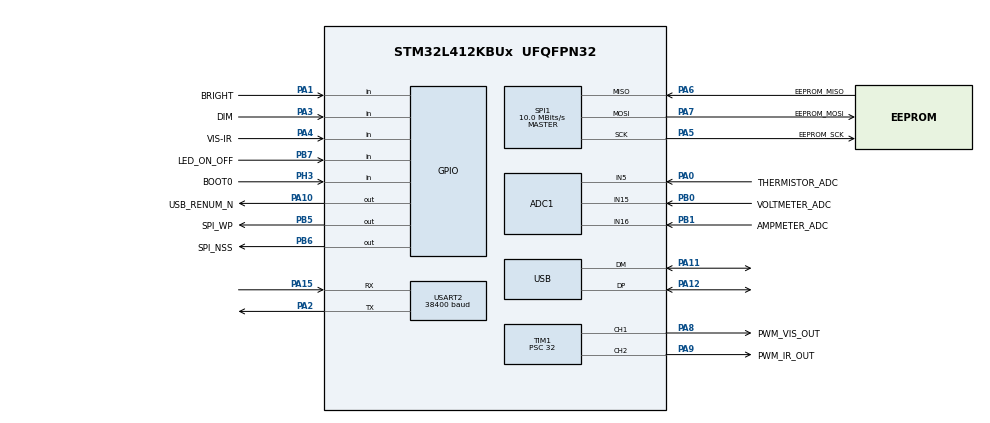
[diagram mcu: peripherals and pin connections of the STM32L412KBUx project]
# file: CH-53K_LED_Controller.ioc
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ADC1.Channel-3\#ChannelRegularConversion=ADC_CHANNEL_5
ADC1.Channel-4\#ChannelRegularConversion=ADC_CHANNEL_15
ADC1.Channel-5\#ChannelRegularConversion=ADC_CHANNEL_16
ADC1.ClockPrescaler=ADC_CLOCK_ASYNC_DIV256
ADC1.ContinuousConvMode=ENABLE
ADC1.DMAContinuousRequests=ENABLE
ADC1.NbrOfConversion=3
ADC1.NbrOfConversionFlag=1
ADC1.OffsetNumber-3\#ChannelRegularConversion=ADC_OFFSET_NONE
ADC1.OffsetNumber-4\#ChannelRegularConversion=ADC_OFFSET_NONE
ADC1.OffsetNumber-5\#ChannelRegularConversion=ADC_OFFSET_NONE
ADC1.Rank-3\#ChannelRegularConversion=1
ADC1.Rank-4\#ChannelRegularConversion=2
ADC1.Rank-5\#ChannelRegularConversion=3
ADC1.SamplingTime-3\#ChannelRegularConversion=ADC_SAMPLETIME_2CYCLES_5
ADC1.SamplingTime-4\#ChannelRegularConversion=ADC_SAMPLETIME_2CYCLES_5
ADC1.SamplingTime-5\#ChannelRegularConversion=ADC_SAMPLETIME_2CYCLES_5
ADC1.master=1
Dma.ADC1.0.Direction=DMA_PERIPH_TO_MEMORY
Dma.ADC1.0.Instance=DMA1_Channel1
Dma.ADC1.0.MemDataAlignment=DMA_MDATAALIGN_HALFWORD
Dma.ADC1.0.MemInc=DMA_MINC_ENABLE
Dma.ADC1.0.Mode=DMA_CIRCULAR
Dma.ADC1.0.PeriphDataAlignment=DMA_PDATAALIGN_HALFWORD
Dma.ADC1.0.PeriphInc=DMA_PINC_DISABLE
Dma.ADC1.0.Priority=DMA_PRIORITY_LOW
Dma.Request0=ADC1
Mcu.Family=STM32L4
Mcu.Name=STM32L412KBUx
Mcu.Package=UFQFPN32
NVIC.DMA1_Channel1_IRQn=true\:0\:0\:false\:false\:true\:false\:true\:true
NVIC.PriorityGroup=NVIC_PRIORITYGROUP_4
NVIC.USB_IRQn=true\:0\:0\:false\:false\:true\:false\:true\:true
PA0-CK_IN.GPIO_Label=THERMISTOR_ADC
PA0-CK_IN.Signal=ADCx_IN5
PA1.GPIO_Label=BRIGHT
PA1.Signal=GPIO_Input
PA10.GPIO_Label=USB_RENUM_N
PA10.Signal=GPIO_Output
PA11.Mode=Device
PA11.Signal=USB_DM
PA12.Mode=Device
PA12.Signal=USB_DP
PA13\ (JTMS/SWDIO).GPIO_Label=SWDIO
PA13\ (JTMS/SWDIO).Mode=Serial_Wire
PA13\ (JTMS/SWDIO).Signal=SYS_JTMS-SWDIO
PA14\ (JTCK/SWCLK).GPIO_Label=SWCLK
PA14\ (JTCK/SWCLK).Mode=Serial_Wire
PA14\ (JTCK/SWCLK).Signal=SYS_JTCK-SWCLK
PA15\ (JTDI).Mode=Asynchronous
PA15\ (JTDI).Signal=USART2_RX
PA2.Mode=Asynchronous
PA2.Signal=USART2_TX
PA3.GPIO_Label=DIM
PA3.Signal=GPIO_Input
PA4.GPIO_Label=VIS-IR
PA4.Signal=GPIO_Input
PA5.GPIO_Label=EEPROM_SCK
PA5.Mode=Full_Duplex_Master
PA5.Signal=SPI1_SCK
PA6.GPIO_Label=EEPROM_MISO
PA6.Mode=Full_Duplex_Master
PA6.Signal=SPI1_MISO
PA7.GPIO_Label=EEPROM_MOSI
PA7.Mode=Full_Duplex_Master
PA7.Signal=SPI1_MOSI
PA8.GPIO_Label=PWM_VIS_OUT
PA8.GPIO_PuPd=GPIO_PULLDOWN
PA8.Signal=S_TIM1_CH1
PA9.GPIO_Label=PWM_IR_OUT
PA9.GPIO_PuPd=GPIO_PULLDOWN
PA9.Signal=S_TIM1_CH2
PB0.GPIO_Label=VOLTMETER_ADC
PB0.Signal=ADCx_IN15
PB1.GPIO_Label=AMPMETER_ADC
PB1.Signal=ADCx_IN16
PB5.GPIO_Label=SPI_WP
PB5.Signal=GPIO_Output
PB6.GPIO_Label=SPI_NSS
PB6.Signal=GPIO_Output
PB7.GPIO_Label=LED_ON_OFF
PB7.Signal=GPIO_Input
PH3-BOOT0\ (BOOT0).GPIO_Label=BOOT0
PH3-BOOT0\ (BOOT0).GPIO_Mode=GPIO_MODE_INPUT
PH3-BOOT0\ (BOOT0).GPIO_PuPd=GPIO_NOPULL
PH3-BOOT0\ (BOOT0).Signal=GPIO_Input
ProjectManager.HeapSize=0x200
ProjectManager.StackSize=0x400
ProjectManager.TargetToolchain=EWARM V8.32
RCC.ADCFreq_Value=80000000
RCC.AHBFreq_Value=80000000
RCC.APB1Freq_Value=80000000
RCC.APB1TimFreq_Value=80000000
RCC.APB2Freq_Value=80000000
RCC.APB2TimFreq_Value=80000000
RCC.CortexFreq_Value=80000000
RCC.HCLKFreq_Value=80000000
RCC.HSE_VALUE=8000000
RCC.HSI48_VALUE=48000000
RCC.HSI_VALUE=16000000
RCC.LSE_VALUE=32768
RCC.MSIClockRange=RCC_MSIRANGE_11
RCC.MSI_VALUE=48000000
RCC.PLLN=10
RCC.PLLSourceVirtual=RCC_PLLSOURCE_HSI
RCC.SYSCLKFreq_VALUE=80000000
RCC.SYSCLKSource=RCC_SYSCLKSOURCE_PLLCLK
RCC.USBFreq_Value=48000000
RCC.VCOOutputFreq_Value=160000000
SH.ADCx_IN15.0=ADC1_IN15,IN15-Single-Ended
SH.ADCx_IN16.0=ADC1_IN16,IN16-Single-Ended
SH.ADCx_IN5.0=ADC1_IN5,IN5-Single-Ended
SH.S_TIM1_CH1.0=TIM1_CH1,PWM Generation1 CH1
SH.S_TIM1_CH2.0=TIM1_CH2,PWM Generation2 CH2
SPI1.BaudRatePrescaler=SPI_BAUDRATEPRESCALER_8
SPI1.CalculateBaudRate=10.0 MBits/s
SPI1.DataSize=SPI_DATASIZE_8BIT
SPI1.Direction=SPI_DIRECTION_2LINES
SPI1.Mode=SPI_MODE_MASTER
SPI1.NSSPMode=SPI_NSS_PULSE_ENABLE
SPI1.VirtualType=VM_MASTER
TIM1.AutoReloadPreload=TIM_AUTORELOAD_PRELOAD_ENABLE
TIM1.Channel-PWM\ Generation1\ CH1=TIM_CHANNEL_1
TIM1.Channel-PWM\ Generation2\ CH2=TIM_CHANNEL_2
TIM1.Period=255
TIM1.Prescaler=32
TIM15.Prescaler=8000
TIM16.Prescaler=40000
TIM2.Prescaler=40000
USART2.BaudRate=38400
USART2.VirtualMode-Asynchronous=VM_ASYNC
USB_DEVICE.CLASS_NAME_FS=CDC
USB_DEVICE.VirtualMode=Cdc
USB_DEVICE.VirtualModeFS=Cdc_FS
VP_TIM15_VS_ClockSourceINT.Mode=Internal
VP_TIM16_VS_ClockSourceINT.Mode=Enable_Timer
VP_TIM1_VS_ClockSourceINT.Mode=Internal
VP_TIM2_VS_ClockSourceINT.Mode=Internal
VP_USB_DEVICE_VS_USB_DEVICE_CDC_FS.Mode=CDC_FS
board=NUCLEO-L412KB

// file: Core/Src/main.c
/* USER CODE BEGIN Header */
/**
  ******************************************************************************
  * @file           : main.c
  * @brief          : Main program body
  ******************************************************************************
  * @attention
  *
  * Copyright (c) 2024 STMicroelectronics.
  * All rights reserved.
  *
  * This software is licensed under terms that can be found in the LICENSE file
  * in the root directory of this software component.
  * If no LICENSE file comes with this software, it is provided AS-IS.
  *
  ******************************************************************************
  */
/* USER CODE END Header */
#include "main.h"
// #include "adc.h"
// #include "dma.h"
// #include "spi.h"
// #include "tim.h"
#include "usart.h"
#include "usb_device.h"
// #include "gpio.h"

/* USER CODE BEGIN Includes */
#include "pwm_handler.h"
#include "delay_handler.h"
#include "button_handler.h"
#include "current_handler.h"
#include "voltage_handler.h"
#include "temperature_handler.h"
#include "com.h"
#include "string.h"
#include "logger.h"

/* USER CODE END Includes */

/* USER CODE BEGIN PD */

/* Delay timings for sweeping brightness */
#define LOWER_SWEEP_TIME_MS  (3375)                                             // time from 50%->0%
#define UPPER_SWEEP_TIME_MS  (4000)                                             // time from 50%->100%
#define TOTAL_SWEEP_TIME_MS (7375)                                              // time from 0%->100%
#define LOWER_STEP_TIME_MS   (LOWER_SWEEP_TIME_MS / (BRIGHTNESS_STEPS / 2.0f))  // 135, time lower per step
#define UPPER_STEP_TIME_MS   (UPPER_SWEEP_TIME_MS / (BRIGHTNESS_STEPS / 2.0f))  // 160, time upper per step
#define AVG_STEP_TIME_MS     ((UPPER_STEP_TIME_MS + LOWER_STEP_TIME_MS) / 2.0f) // 147.5
#define AVG_STEP_DIFF_MS     (AVG_STEP_TIME_MS    - LOWER_STEP_TIME_MS)         // 12.5, distance between lower step time and average step time

#define LOG_DELAY_MS        (600000) // 10 minutes
#define LIVE_LOG_DELAY_MS   (1000)   // 1 second

const float LowStepTimeMs = ( LOWER_STEP_TIME_MS - AVG_STEP_DIFF_MS )
                            ; // 122.5
const float HighStepTimeMs = ( UPPER_STEP_TIME_MS + AVG_STEP_DIFF_MS )
                             ; // 172.5
/* USER CODE END PD */

/* USER CODE BEGIN PV */

extern uint16_t value_adc [ 3 ];

/* USER CODE END PV */

void SystemClock_Config ( void );
/* USER CODE BEGIN PFP */

void LogVitals ( void );
void FindVitalsEOL ( void );
void EraseLogs ( void );
int verifyLogRead ( void );

void LL_ADC_Start_DMA ( uint32_t* pData,
                        uint32_t Length );
void LL_DMA_Start_IT ( uint32_t SrcAddress,
                       uint32_t DstAddress, uint32_t DataLength );

void LL_DMA_SetConfig ( uint32_t SrcAddress,
                        uint32_t DstAddress, uint32_t DataLength );

/* USER CODE END PFP */

int main ( void )
{

    /* MCU Configuration--------------------------------------------------------*/

    /* Reset of all peripherals, Initializes the Flash interface and the Systick. */
    HAL_Init();

    /* Configure the system clock */
    SystemClock_Config();

    /* Initialize all configured peripherals */
    MX_GPIO_Init();
    MX_DMA_Init();
    MX_TIM1_Init();
    MX_TIM2_Init();
    MX_TIM15_Init();
    MX_TIM16_Init();
    MX_USART2_UART_Init();
    MX_ADC1_Init();
    MX_SPI1_Init();
    MX_USB_DEVICE_Init();
    /* USER CODE BEGIN 2 */

    LL_ADC_Start_DMA ( ( uint32_t* ) value_adc, 3 );
    InitPwm();

    GPIO_PinState prevDimPressed = BUTTON_UNPRESSED;
    GPIO_PinState prevBrightPressed = BUTTON_UNPRESSED;

    StartDelayCounter();
    StartLogDelayCounter();
    StartLiveLogDelayCounter();

    // Init Logs
    FindVitalsEOL();

    // if brightness has changed since last log
    uint8_t isBrightnessChanged = 0;

    // EraseLogs();

    /* USER CODE END 2 */

    /* Infinite loop */
    while ( 1 )
    {

        /* USER CODE BEGIN 3 */

        GPIO_PinState onOffPressed = IsOnOffPressed(); // 0 = Off, 1 = On

        if ( onOffPressed )
        {
            EnablePWM1();
            GPIO_PinState togglePressed = IsTogglePressed(); // 0 = IR, 1 = Visible
            SetPwm (!togglePressed );

            const int8_t CurrBrightness = GetBrightness (!togglePressed );;
            const uint16_t BrightnessDelay_ms = ( uint16_t ) ( ( LowStepTimeMs +
                                                CurrBrightness ) * HOLD_BRIGHTNESS_JUMP );

            uint8_t brightnessDelayHit = DelayHit ( BrightnessDelay_ms );

            GPIO_PinState dimPressed = IsDimPressed();
            GPIO_PinState brightPressed = IsBrightPressed();

            if ( ( dimPressed == BUTTON_PRESSED ) && brightnessDelayHit )
            {
                DecreaseBrightness ( prevDimPressed, !togglePressed );

                RestartDelayCounter();

                isBrightnessChanged = 1; // mark brightness as changed
            }
            else if ( ( brightPressed == BUTTON_PRESSED ) && brightnessDelayHit )
            {
                IncreaseBrightness ( prevBrightPressed, !togglePressed );

                RestartDelayCounter();

                isBrightnessChanged = 1; // mark brightness as changed
            }

            // Check to see if brightness has changed
            if ( isBrightnessChanged )
            {
                // If so, log
                LogPwm();
                isBrightnessChanged = 0;
            }

            // save previous button state
            prevDimPressed = dimPressed;
            prevBrightPressed = brightPressed;
        }
        else
        {
            DisablePWM1();
            prevDimPressed = BUTTON_UNPRESSED;
            prevBrightPressed = BUTTON_UNPRESSED;
        }

        // log levels
        if ( LogDelayHit ( LOG_DELAY_MS ) )
        {
            LogVitals();
            RestartLogDelayCounter();
        }

        // log levels
        if ( LiveLogDelayHit ( LIVE_LOG_DELAY_MS ) )
        {
            sendLiveLogs();
            RestartLiveLogDelayCounter();
        }

        uint8_t response [ 2 ] = {0, 0};
        checkLine ( response );

        uint8_t response_type = response [ 0 ];
        uint8_t response_num = response [ 1 ];

        if ( response_type != 0 )
        {
            sendRecordedLogs ( response_type, response_num );
            RestartLiveLogDelayCounter();
        }

        // int8_t isLogCorrect = verifyLogRead();

        // if (isLogCorrect != 0)
        // {
        // DisablePWM1();
        // return isLogCorrect;
        // }

    }

    /* USER CODE END 3 */
}

void SystemClock_Config ( void )
{
    LL_FLASH_SetLatency ( LL_FLASH_LATENCY_4 );

    while ( LL_FLASH_GetLatency() != LL_FLASH_LATENCY_4 )
    {
    }

    LL_PWR_SetRegulVoltageScaling ( LL_PWR_REGU_VOLTAGE_SCALE1 );

    while ( LL_PWR_IsActiveFlag_VOS() != 0 )
    {
    }

    LL_RCC_HSI_Enable();

    /* Wait till HSI is ready */
    while ( LL_RCC_HSI_IsReady() != 1 )
    {

    }

    LL_RCC_HSI_SetCalibTrimming ( 64 );
    LL_RCC_MSI_Enable();

    /* Wait till MSI is ready */
    while ( LL_RCC_MSI_IsReady() != 1 )
    {

    }

    LL_RCC_MSI_EnableRangeSelection();
    LL_RCC_MSI_SetRange ( LL_RCC_MSIRANGE_11 );
    LL_RCC_MSI_SetCalibTrimming ( 0 );
    LL_RCC_PLL_ConfigDomain_SYS ( LL_RCC_PLLSOURCE_HSI, LL_RCC_PLLM_DIV_1, 10,
                                  LL_RCC_PLLR_DIV_2 );
    LL_RCC_PLL_EnableDomain_SYS();
    LL_RCC_PLL_Enable();

    /* Wait till PLL is ready */
    while ( LL_RCC_PLL_IsReady() != 1 )
    {

    }

    LL_RCC_SetSysClkSource ( LL_RCC_SYS_CLKSOURCE_PLL );

    /* Wait till System clock is ready */
    while ( LL_RCC_GetSysClkSource() != LL_RCC_SYS_CLKSOURCE_STATUS_PLL )
    {

    }

    LL_RCC_SetAHBPrescaler ( LL_RCC_SYSCLK_DIV_1 );
    LL_RCC_SetAPB1Prescaler ( LL_RCC_APB1_DIV_1 );
    LL_RCC_SetAPB2Prescaler ( LL_RCC_APB2_DIV_1 );
    LL_SetSystemCoreClock ( 80000000 );

    /* Update the time base */
    if ( HAL_InitTick ( TICK_INT_PRIORITY ) != HAL_OK )
    {
        Error_Handler();
    }
}

/* USER CODE BEGIN 4 */

void LogVitals ( void )
{
    LogTemperature();
    LogCurrent();
    LogVoltage();
}

void FindVitalsEOL ( void )
{
    findTemperatureLogEOL();
    findCurrentLogEOL();
    findVoltageLogEOL();
}

// Writes Zero to Log Space
void EraseLogs ( void )
{
#define TOTAL_SPACE (PWM_LOG_SPACE + CURRENT_LOG_SPACE + TEMPERATURE_LOG_SPACE + VOLTAGE_LOG_SPACE)
    uint8_t zero_array [ TOTAL_SPACE ];
    memset ( zero_array, 0, TOTAL_SPACE );

    WriteLog ( STARTING_PWM_ADDRESS, ( char const* ) zero_array, TOTAL_SPACE );
}

// Verify that the pwm log is being written correctly
int verifyLogRead ( void )
{
    char stringVis [ PWM_LOG_SIZE ];
    char stringIr [ PWM_LOG_SIZE ];
    char stringPrevInit [ PWM_LOG_SIZE ];

    ReadLog ( STARTING_PWM_ADDRESS, stringVis,
              PWM_LOG_SIZE );

    ReadLog ( STARTING_PWM_ADDRESS + PWM_LOG_SIZE, stringIr,
              PWM_LOG_SIZE );

    ReadLog ( STARTING_PWM_ADDRESS + 2 * PWM_LOG_SIZE, stringPrevInit,
              PWM_LOG_SIZE );

    uint8_t isVisCorrect = ( int8_t ) stringVis [ 0 ] == GetBrightness ( 0 );
    uint8_t isIrCorrect = ( int8_t ) stringIr [ 0 ] == GetBrightness ( 1 );
    uint8_t isPrevInitCorrect = ( int8_t ) stringPrevInit [ 0 ] == 1;

    if (!isPrevInitCorrect )
    {
        return -1;
    }
    else if (!isVisCorrect )
    {
        return -2;
    }
    else if (!isIrCorrect )
    {
        return -3;
    }
    else
    {
        return 0;
    }
}

void LL_ADC_Start_DMA ( uint32_t* pData,
                        uint32_t Length )
{
    /* Perform ADC enable and conversion start if no conversion is on going */
    /* Ensure that multimode regular conversions are not enabled.   */
    /* Otherwise, dedicated API HAL_ADCEx_MultiModeStart_DMA() must be used.  */
    /* Enable the ADC peripheral */
    /* ADC enable and wait for ADC ready (in case of ADC is disabled or         */
    /* enabling phase not yet completed: flag ADC ready not yet set).           */
    /* Timeout implemented to not be stuck if ADC cannot be enabled (possible   */
    /* causes: ADC clock not running, ...).                                     */
    if ( LL_ADC_IsEnabled ( ADC1 ) == 0UL )
    {
        /* Enable the ADC peripheral */
        LL_ADC_Enable ( ADC1 );

        while ( LL_ADC_IsActiveFlag_ADRDY ( ADC1 ) == 0UL )
        {
            /*  If ADEN bit is set less than 4 ADC clock cycles after the ADCAL bit
                has been cleared (after a calibration), ADEN bit is reset by the
                calibration logic.
                The workaround is to continue setting ADEN until ADRDY is becomes 1.
                Additionally, ADC_ENABLE_TIMEOUT is defined to encompass this
                4 ADC clock cycle duration */
            /* Note: Test of ADC enabled required due to hardware constraint to     */
            /*       not enable ADC if already enabled.                             */
            if ( LL_ADC_IsEnabled ( ADC1 ) == 0UL )
            {
                LL_ADC_Enable ( ADC1 );
            }
        }
    }

    /* Start conversion if ADC is effectively enabled */
    /* Set ADC state                                                        */
    /* - Clear state bitfield related to regular group conversion results   */
    /* - Set state bitfield related to regular operation                    */
    LL_ADC_ClearFlag_ADRDY ( ADC1 );
    LL_ADC_ClearFlag_EOC ( ADC1 );
    LL_ADC_ClearFlag_OVR ( ADC1 );
    LL_ADC_ClearFlag_EOSMP ( ADC1 );

    /* Manage ADC and DMA start: ADC overrun interruption, DMA start,     */
    /* ADC start (in case of SW start):                                   */

    /* Clear regular group conversion flag and overrun flag               */
    /* (To ensure of no unknown state from potential previous ADC         */
    /* operations)                                                        */
    LL_ADC_ClearFlag_EOC ( ADC1 );
    LL_ADC_ClearFlag_EOS ( ADC1 );
    LL_ADC_ClearFlag_OVR ( ADC1 );

    /* With DMA, overrun event is always considered as an error even if
       hadc->Init.Overrun is set to ADC_OVR_DATA_OVERWRITTEN. Therefore,
       ADC_IT_OVR is enabled. */
    LL_ADC_EnableIT_OVR ( ADC1 );

    /* Enable ADC DMA mode */
    LL_ADC_REG_SetDMATransfer ( ADC1, LL_ADC_REG_DMA_TRANSFER_UNLIMITED );

    /* Start the DMA channel */
    LL_DMA_Start_IT ( ( uint32_t ) &ADC1->DR, ( uint32_t ) pData,
                      Length );

    /* Enable conversion of regular group.                                  */
    /* If software start has been selected, conversion starts immediately.  */
    /* If external trigger has been selected, conversion will start at next */
    /* trigger event.                                                       */
    /* Start ADC group regular conversion */
    LL_ADC_REG_StartConversion ( ADC1 );
}

void LL_DMA_Start_IT ( uint32_t SrcAddress,
                       uint32_t DstAddress, uint32_t DataLength )
{

    /* Disable the peripheral */
    LL_DMA_DisableChannel ( DMA1, LL_DMA_CHANNEL_1 );

    /* Configure the source, destination address and the data length & clear flags*/
    LL_DMA_SetConfig ( SrcAddress, DstAddress, DataLength );

    /* Enable the transfer complete interrupt */
    /* Enable the transfer Error interrupt */
    /* Enable the Half transfer complete interrupt as well */
    LL_DMA_EnableIT_TC ( DMA1, LL_DMA_CHANNEL_1 );
    LL_DMA_EnableIT_HT ( DMA1, LL_DMA_CHANNEL_1 );
    LL_DMA_EnableIT_TE ( DMA1, LL_DMA_CHANNEL_1 );

    /* Enable the Peripheral */
    LL_DMA_EnableChannel ( DMA1, LL_DMA_CHANNEL_1 );
}

void LL_DMA_SetConfig ( uint32_t SrcAddress,
                        uint32_t DstAddress, uint32_t DataLength )
{
    /* Clear all flags */
    LL_DMA_ClearFlag_GI1 ( DMA1 );
    LL_DMA_ClearFlag_TC1 ( DMA1 );
    LL_DMA_ClearFlag_HT1 ( DMA1 );
    LL_DMA_ClearFlag_TE1 ( DMA1 );

    /* Configure DMA Channel data length */
    // DMA1_Channel1->CNDTR = DataLength;
    LL_DMA_SetDataLength ( DMA1, LL_DMA_CHANNEL_1, DataLength );

    /* Configure DMA Channel source and destination address */
    LL_DMA_ConfigAddresses ( DMA1, LL_DMA_CHANNEL_1, SrcAddress, DstAddress,
                             LL_DMA_DIRECTION_PERIPH_TO_MEMORY );
    // DMA1_Channel1->CPAR = SrcAddress;
    // DMA1_Channel1->CMAR = DstAddress;
}

/* USER CODE END 4 */

void Error_Handler ( void )
{
    __disable_irq();
    while ( 1 )
    {
    }
}
